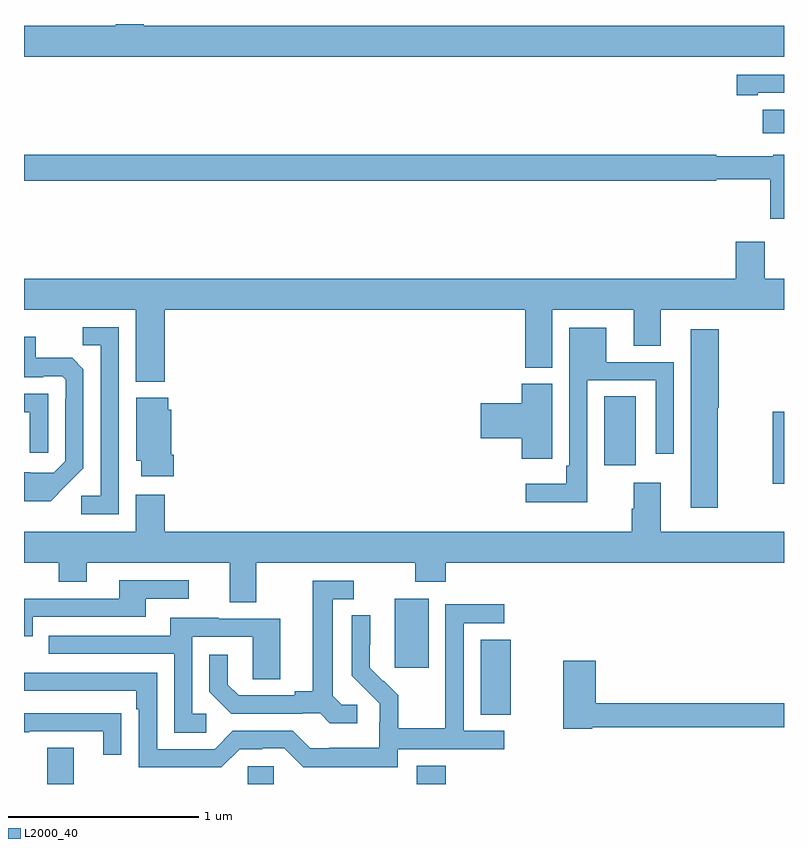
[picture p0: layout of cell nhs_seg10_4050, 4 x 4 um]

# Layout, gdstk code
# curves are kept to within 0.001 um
import gdstk
lib = gdstk.Library(unit=1e-6, precision=1e-09)
def R(c, l, rs):  # rectangles x0, y0, x1, y1
    for r in rs: c.add(gdstk.rectangle(r[:2], r[2:], *l))
def P(c, l, *ps):  # polygons
    for p in ps: c.add(gdstk.Polygon(p, *l))
L2000_40 = (2000, 40)

nhs_seg10_4050 = lib.new_cell('nhs_seg10_4050')
R(nhs_seg10_4050, L2000_40, [(335.123,1284.5,335.263,1284.691), (336.177,1284.5,336.315,1284.594), (337.067,1284.5,337.22,1284.595), (337.403,1284.865,337.561,1285.258), (336.95,1285.113,337.129,1285.474), (338.941,1286.079,339,1286.46), (338.054,1286.178,338.221,1286.54), (338.889,1287.926,339,1288.048)])
P(nhs_seg10_4050, L2000_40, [(339,1288.492),(335.631,1288.492),(335.631,1288.5),(335.483,1288.5),(335.483,1288.492),(335,1288.492),(335,1288.328),(339,1288.328)],
  [(338.863,1288.137),(339,1288.137),(339,1288.233),(338.751,1288.233),(338.751,1288.125),(338.863,1288.125)],
  [(339,1287.811),(338.943,1287.811),(338.943,1287.805),(338.643,1287.805),(338.643,1287.812),(335,1287.812),(335,1287.676),(338.643,1287.676),(338.643,1287.684),(338.927,1287.684),(338.927,1287.474),(339,1287.474)],
  [(335.741,1286.996),(337.637,1286.996),(337.637,1286.692),(337.78,1286.692),(337.78,1286.996),(338.21,1286.996),(338.21,1286.806),(338.35,1286.806),(338.35,1286.996),(339,1286.996),(339,1287.16),(338.899,1287.16),(338.899,1287.355),(338.747,1287.355),(338.747,1287.16),(335,1287.16),(335,1286.996),(335.588,1286.996),(335.588,1286.618),(335.741,1286.618)],
  [(335.499,1286.904),(335.308,1286.904),(335.308,1286.809),(335.403,1286.809),(335.403,1286.016),(335.301,1286.016),(335.301,1285.92),(335.499,1285.92)],
  [(337.965,1286.625),(338.325,1286.625),(338.325,1286.238),(338.421,1286.238),(338.421,1286.721),(338.065,1286.721),(338.065,1286.902),(337.869,1286.902),(337.869,1286.176),(337.853,1286.176),(337.853,1286.08),(337.641,1286.08),(337.641,1285.982),(337.965,1285.982)],
  [(338.652,1286.48),(338.657,1286.48),(338.657,1286.893),(338.51,1286.893),(338.51,1285.953),(338.652,1285.953)],
  [(335.221,1286.069),(335.313,1286.162),(335.313,1286.684),(335.254,1286.743),(335.062,1286.743),(335.062,1286.854),(335,1286.854),(335,1286.642),(335.102,1286.642),(335.102,1286.646),(335.202,1286.646),(335.22,1286.628),(335.22,1286.528),(335.217,1286.528),(335.217,1286.199),(335.157,1286.139),(335,1286.14),(335,1285.988),(335.141,1285.988)],
  [(337.779,1286.323),(337.78,1286.323),(337.78,1286.607),(337.619,1286.607),(337.619,1286.504),(337.404,1286.504),(337.404,1286.321),(337.619,1286.321),(337.619,1286.211),(337.779,1286.211)],
  [(335.127,1286.553),(335,1286.553),(335,1286.457),(335.031,1286.457),(335.031,1286.244),(335.127,1286.244)],
  [(335.789,1286.233),(335.776,1286.233),(335.776,1286.469),(335.758,1286.469),(335.758,1286.533),(335.591,1286.533),(335.591,1286.202),(335.618,1286.202),(335.618,1286.121),(335.789,1286.121)],
  [(336.223,1285.664),(337.06,1285.664),(337.06,1285.565),(337.22,1285.565),(337.22,1285.664),(339,1285.664),(339,1285.828),(338.35,1285.828),(338.35,1286.086),(338.21,1286.086),(338.21,1285.949),(338.198,1285.949),(338.198,1285.828),(335.741,1285.828),(335.741,1286.023),(335.588,1286.023),(335.588,1285.828),(335,1285.828),(335,1285.664),(335.182,1285.664),(335.182,1285.565),(335.329,1285.565),(335.329,1285.664),(336.083,1285.664),(336.083,1285.456),(336.223,1285.456)],
  [(335.046,1285.38),(335.641,1285.38),(335.641,1285.476),(335.866,1285.476),(335.866,1285.572),(335.501,1285.572),(335.501,1285.476),(335,1285.476),(335,1285.277),(335.046,1285.277)],
  [(336.754,1284.918),(336.672,1284.918),(336.625,1284.965),(336.625,1285.473),(336.736,1285.473),(336.736,1285.569),(336.521,1285.569),(336.521,1284.989),(336.425,1284.989),(336.425,1284.966),(336.13,1284.966),(336.073,1285.023),(336.073,1285.18),(335.976,1285.18),(335.976,1284.986),(336.092,1284.87),(336.464,1284.87),(336.464,1284.873),(336.558,1284.873),(336.61,1284.821),(336.754,1284.821)],
  [(336.966,1284.684),(337.528,1284.684),(337.528,1284.78),(337.314,1284.78),(337.314,1285.347),(337.528,1285.347),(337.528,1285.446),(337.218,1285.446),(337.218,1285.016),(337.216,1285.016),(337.216,1284.793),(336.971,1284.793),(336.971,1284.967),(336.894,1285.044),(336.891,1285.041),(336.821,1285.112),(336.822,1285.388),(336.726,1285.388),(336.726,1285.07),(336.872,1284.922),(336.872,1284.825),(336.87,1284.825),(336.87,1284.691),(336.607,1284.691),(336.607,1284.687),(336.507,1284.687),(336.414,1284.78),(336.099,1284.78),(336.003,1284.684),(335.7,1284.684),(335.7,1285.086),(335,1285.086),(335,1284.99),(335.591,1284.99),(335.591,1284.893),(335.604,1284.893),(335.604,1284.588),(336.039,1284.588),(336.135,1284.684),(336.254,1284.684),(336.254,1284.687),(336.369,1284.687),(336.469,1284.587),(336.966,1284.587)],
  [(335.959,1284.87),(335.886,1284.87),(335.886,1285.275),(336.204,1285.275),(336.204,1285.051),(336.349,1285.051),(336.349,1285.371),(336.025,1285.371),(336.025,1285.375),(335.771,1285.375),(335.771,1285.281),(335.131,1285.281),(335.131,1285.185),(335.79,1285.185),(335.79,1284.769),(335.959,1284.769)],
  [(337.992,1284.798),(339,1284.798),(339,1284.926),(338.009,1284.926),(338.009,1285.15),(337.838,1285.15),(337.838,1284.79),(337.992,1284.79)],
  [(335.513,1284.872),(335.411,1284.872),(335.411,1284.873),(335,1284.873),(335,1284.772),(335.027,1284.772),(335.027,1284.777),(335.417,1284.777),(335.417,1284.654),(335.513,1284.654)])

lib.write_gds('nhs_seg10_4050.gds')
